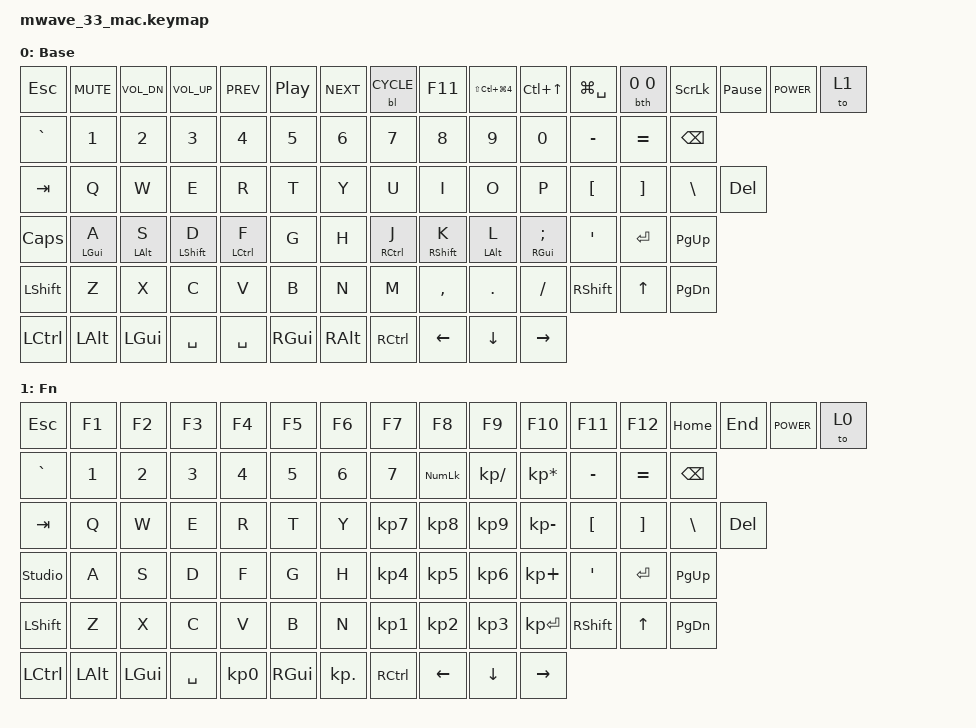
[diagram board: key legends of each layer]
#include <behaviors.dtsi>
#include <dt-bindings/zmk/backlight.h>
#include <dt-bindings/zmk/bt.h>
#include <dt-bindings/zmk/keys.h>
#include <dt-bindings/zmk/pointing.h>
#include <dt-bindings/zmk/outputs.h>
#include <dt-bindings/advertising_mode.h>
#include <behaviors/advertising_mode.dtsi>
#include <behaviors/stp_indicators.dtsi>
#include "studio-macros.dtsi"

/ {
    #include "mwave_prim.dtsi"

    behaviors {
        hml: home_row_mod_left {
            compatible = "zmk,behavior-hold-tap";
            #binding-cells = <2>;
            flavor = "balanced";
            tapping-term-ms = <280>;
            quick-tap-ms = <175>;
            require-prior-idle-ms = <250>;
            bindings = <&kp>, <&kp>;
            hold-trigger-key-positions = <7 8 9 10 11 12 13 14 15 16 24 25 26 27 28 29 30 37 38 39 40 41 42 43 44 45 52 53 54 55 56 57 58 59 66 67 68 69 70 71 72 73 79 80 81 82 83 84>;
            hold-trigger-on-release;
        };

        hmr: home_row_mod_right {
            compatible = "zmk,behavior-hold-tap";
            #binding-cells = <2>;
            flavor = "balanced";
            tapping-term-ms = <280>;
            quick-tap-ms = <175>;
            require-prior-idle-ms = <150>;
            bindings = <&kp>, <&kp>;
            hold-trigger-key-positions = <0 1 2 3 4 5 6 17 18 19 20 21 22 23 31 32 33 34 35 36 46 47 48 49 50 51 60 61 62 63 64 65 74 75 76 77 78>;
            hold-trigger-on-release;
        };
    };

    keymap {
        compatible = "zmk,keymap";

        default_layer {
            display-name = "Base";
            bindings = <
&kp ESC    &kp C_MUTE    &kp C_VOL_DN  &kp C_VOL_UP  &kp C_PREV  &kp C_PP       &kp C_NEXT     &bl BL_CYCLE  &kp F11    &kp LS(LC(LG(NUMBER_4)))  &kp LC(UP_ARROW)  &kp LG(SPACE)  &bth 0 0    &kp SCROLLLOCK  &kp PAUSE_BREAK  &kp K_POWER  &to 1
&kp GRAVE  &kp N1        &kp N2        &kp N3        &kp N4      &kp N5         &kp N6         &kp N7        &kp N8     &kp N9                    &kp N0            &kp MINUS      &kp EQUAL   &kp BSPC
&kp TAB    &kp Q         &kp W         &kp E         &kp R       &kp T          &kp Y          &kp U         &kp I      &kp O                     &kp P             &kp LBKT       &kp RBKT    &kp BSLH        &kp DEL
&kp CLCK   &hml LGUI A   &hml LALT S   &hml LSHFT D  &hml LCTRL F  &kp G        &kp H          &hmr RCTRL J  &hmr RSHFT K  &hmr LALT L            &hmr RGUI SEMI    &kp SQT        &kp RET     &kp PG_UP
&kp LSHFT  &kp Z         &kp X         &kp C         &kp V       &kp B          &kp N          &kp M         &kp COMMA  &kp DOT                   &kp FSLH          &kp RSHFT      &kp UP      &kp PG_DN
&kp LCTRL  &kp LEFT_ALT  &kp LEFT_GUI  &kp SPACE     &kp SPACE   &kp RIGHT_GUI  &kp RIGHT_ALT  &kp RCTRL     &kp LEFT   &kp DOWN                  &kp RIGHT
            >;
        };

        raise {
            display-name = "Fn";
            bindings = <
&kp ESCAPE      &kp F1       &kp F2        &kp F3     &kp F4      &kp F5         &kp F6      &kp F7     &kp F8       &kp F9         &kp F10          &kp F11          &kp F12    &kp HOME       &kp END     &kp K_POWER  &to 0
&kp GRAVE       &kp N1       &kp N2        &kp N3     &kp N4      &kp N5         &kp N6      &kp N7     &kp KP_NLCK  &kp KP_DIVIDE  &kp KP_MULTIPLY  &kp MINUS        &kp EQUAL  &kp BACKSPACE
&kp TAB         &kp Q        &kp W         &kp E      &kp R       &kp T          &kp Y       &kp KP_N7  &kp KP_N8    &kp KP_N9      &kp KP_MINUS     &kp LBKT         &kp RBKT   &kp BSLH       &kp DELETE
&studio_unlock  &kp A        &kp S         &kp D      &kp F       &kp G          &kp H       &kp KP_N4  &kp KP_N5    &kp KP_N6      &kp KP_PLUS      &kp SQT          &kp ENTER  &kp PAGE_UP
&kp LEFT_SHIFT  &kp Z        &kp X         &kp C      &kp V       &kp B          &kp N       &kp KP_N1  &kp KP_N2    &kp KP_N3      &kp KP_ENTER     &kp RIGHT_SHIFT  &kp UP     &kp PAGE_DOWN
&kp LCTRL       &kp LEFT_ALT &kp LEFT_GUI  &kp SPACE  &kp KP_N0   &kp RIGHT_GUI  &kp KP_DOT  &kp RCTRL  &kp LEFT     &kp DOWN       &kp RIGHT
            >;
        };

        extra1 { display-name = "Blue";   status = "reserved"; };
        extra2 { display-name = "Green";  status = "reserved"; };
        extra3 { display-name = "Red";    status = "reserved"; };
        extra4 { display-name = "Purple"; status = "reserved"; };
        extra5 { display-name = "Cyan";   status = "reserved"; };
        extra6 { display-name = "Yellow"; status = "reserved"; };
    };
};
